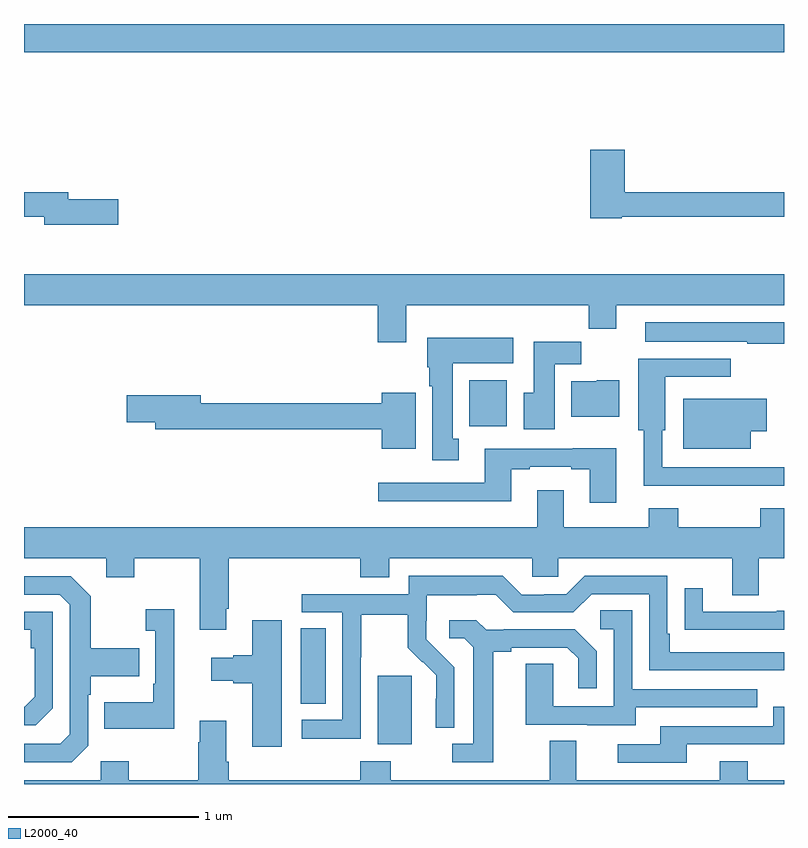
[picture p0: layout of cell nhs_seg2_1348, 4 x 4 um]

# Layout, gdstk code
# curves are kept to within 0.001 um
import gdstk
lib = gdstk.Library(unit=1e-6, precision=1e-09)
def R(c, l, rs):  # rectangles x0, y0, x1, y1
    for r in rs: c.add(gdstk.rectangle(r[:2], r[2:], *l))
def P(c, l, *ps):  # polygons
    for p in ps: c.add(gdstk.Polygon(p, *l))
L2000_40 = (2000, 40)

nhs_seg2_1348 = lib.new_cell('nhs_seg2_1348')
R(nhs_seg2_1348, L2000_40, [(182.861,628.01,183.04,628.371), (182.456,628.222,182.587,628.619), (183.344,629.684,183.541,629.926), (181,631.652,185,631.8)])
P(nhs_seg2_1348, L2000_40, [(184.146,630.786),(185,630.786),(185,630.914),(184.163,630.914),(184.163,631.138),(183.98,631.138),(183.98,630.778),(184.146,630.778)],
  [(181.495,630.878),(181.234,630.878),(181.234,630.914),(181,630.914),(181,630.786),(181.106,630.786),(181.106,630.743),(181.495,630.743)],
  [(183.013,630.32),(183.973,630.32),(183.973,630.196),(184.117,630.196),(184.117,630.32),(185,630.32),(185,630.484),(181,630.484),(181,630.32),(182.861,630.32),(182.861,630.126),(183.013,630.126)],
  [(185,630.229),(184.269,630.229),(184.269,630.128),(184.807,630.128),(184.807,630.118),(185,630.118)],
  [(183.289,629.618),(183.256,629.618),(183.256,630.014),(183.574,630.014),(183.574,630.148),(183.122,630.148),(183.122,629.994),(183.134,629.994),(183.134,629.894),(183.149,629.894),(183.149,629.505),(183.289,629.505)],
  [(183.793,630.008),(183.932,630.008),(183.932,630.127),(183.683,630.127),(183.683,629.86),(183.629,629.86),(183.629,629.667),(183.793,629.667)],
  [(184.787,629.37),(185,629.37),(185,629.466),(184.359,629.466),(184.359,629.661),(184.375,629.661),(184.375,629.943),(184.72,629.943),(184.72,630.039),(184.232,630.039),(184.232,629.661),(184.262,629.661),(184.262,629.37),(184.531,629.37),(184.531,629.369),(184.787,629.369)],
  [(184.132,629.926),(184.014,629.926),(184.014,629.92),(183.881,629.92),(183.881,629.732),(184.132,629.732)],
  [(183.061,629.86),(182.882,629.86),(182.882,629.804),(181.93,629.804),(181.93,629.847),(181.542,629.847),(181.542,629.705),(181.691,629.705),(181.691,629.668),(182.882,629.668),(182.882,629.564),(183.061,629.564)],
  [(184.825,629.657),(184.909,629.657),(184.909,629.827),(184.469,629.827),(184.469,629.564),(184.825,629.564)],
  [(184.117,629.566),(183.889,629.566),(183.889,629.565),(183.425,629.565),(183.425,629.385),(182.865,629.385),(182.865,629.288),(183.565,629.288),(183.565,629.457),(183.661,629.457),(183.661,629.469),(183.881,629.469),(183.881,629.457),(183.977,629.457),(183.977,629.28),(184.117,629.28)],
  [(182.065,628.723),(182.078,628.723),(182.078,628.988),(182.771,628.988),(182.771,628.889),(182.923,628.889),(182.923,628.988),(183.675,628.988),(183.675,628.89),(183.813,628.89),(183.813,628.988),(184.727,628.988),(184.727,628.794),(184.867,628.794),(184.867,628.988),(185,628.988),(185,629.251),(184.876,629.251),(184.876,629.152),(184.443,629.152),(184.443,629.251),(184.288,629.251),(184.288,629.152),(183.841,629.152),(183.841,629.347),(183.701,629.347),(183.701,629.152),(181,629.152),(181,628.988),(181.433,628.988),(181.433,628.889),(181.581,628.889),(181.581,628.988),(181.925,628.988),(181.925,628.611),(182.065,628.611)],
  [(182.772,628.468),(182.775,628.468),(182.775,628.692),(183.019,628.692),(183.019,628.517),(183.096,628.44),(183.099,628.443),(183.17,628.373),(183.17,628.25),(183.168,628.25),(183.168,628.096),(183.264,628.096),(183.264,628.414),(183.118,628.562),(183.118,628.659),(183.12,628.659),(183.12,628.793),(183.383,628.793),(183.383,628.797),(183.483,628.797),(183.576,628.704),(183.891,628.704),(183.987,628.8),(184.29,628.8),(184.29,628.398),(185,628.398),(185,628.494),(184.399,628.494),(184.399,628.591),(184.386,628.591),(184.386,628.896),(183.951,628.896),(183.855,628.8),(183.737,628.8),(183.737,628.797),(183.621,628.797),(183.521,628.897),(183.024,628.897),(183.024,628.8),(182.463,628.8),(182.463,628.704),(182.676,628.704),(182.676,628.137),(182.463,628.137),(182.463,628.039),(182.772,628.039)],
  [(181.338,628.002),(181.338,628.271),(181.351,628.271),(181.351,628.367),(181.607,628.367),(181.607,628.515),(181.351,628.515),(181.351,628.787),(181.245,628.893),(181,628.893),(181,628.797),(181.188,628.797),(181.242,628.743),(181.242,628.062),(181.191,628.011),(181,628.011),(181,627.915),(181.251,627.915)],
  [(185,628.712),(184.963,628.712),(184.963,628.707),(184.573,628.707),(184.573,628.831),(184.477,628.831),(184.477,628.612),(184.579,628.612),(184.579,628.611),(185,628.611)],
  [(181.79,628.72),(181.641,628.72),(181.641,628.607),(181.692,628.607),(181.692,628.327),(181.68,628.327),(181.68,628.231),(181.423,628.231),(181.423,628.091),(181.79,628.091)],
  [(184.219,628.203),(184.859,628.203),(184.859,628.299),(184.2,628.299),(184.2,628.715),(184.032,628.715),(184.032,628.614),(184.104,628.614),(184.104,628.209),(183.786,628.209),(183.786,628.433),(183.641,628.433),(183.641,628.113),(183.965,628.113),(183.965,628.109),(184.219,628.109)],
  [(181.152,628.2),(181.152,628.707),(181,628.707),(181,628.611),(181.036,628.611),(181.036,628.514),(181.056,628.514),(181.056,628.26),(181.003,628.207),(181,628.207),(181,628.11),(181.062,628.11)],
  [(183.469,628.496),(183.565,628.496),(183.565,628.518),(183.86,628.518),(183.917,628.461),(183.917,628.305),(184.014,628.305),(184.014,628.498),(183.898,628.614),(183.526,628.614),(183.526,628.611),(183.432,628.611),(183.38,628.663),(183.237,628.663),(183.237,628.566),(183.318,628.566),(183.365,628.519),(183.365,628.011),(183.255,628.011),(183.255,627.915),(183.469,627.915)],
  [(182.356,628.663),(182.201,628.663),(182.201,628.478),(182.102,628.478),(182.102,628.465),(181.986,628.465),(181.986,628.343),(182.102,628.343),(182.102,628.331),(182.201,628.331),(182.201,627.996),(182.356,627.996)],
  [(184.489,628.008),(185,628.008),(185,628.207),(184.944,628.207),(184.944,628.104),(184.349,628.104),(184.349,628.008),(184.125,628.008),(184.125,627.912),(184.489,627.912)],
  [(185,627.82),(184.809,627.82),(184.809,627.919),(184.661,627.919),(184.661,627.82),(183.907,627.82),(183.907,628.028),(183.767,628.028),(183.767,627.82),(182.931,627.82),(182.931,627.919),(182.771,627.919),(182.771,627.82),(182.078,627.82),(182.078,627.916),(182.065,627.916),(182.065,628.132),(181.925,628.132),(181.925,628.019),(181.918,628.019),(181.918,627.82),(181.551,627.82),(181.551,627.919),(181.404,627.919),(181.404,627.82),(181,627.82),(181,627.8),(185,627.8)])

lib.write_gds('nhs_seg2_1348.gds')
